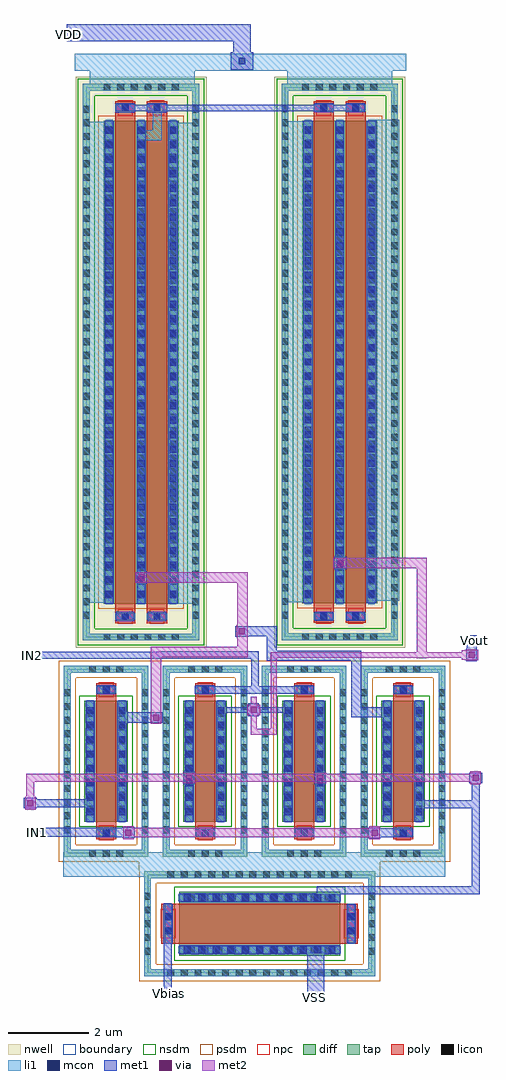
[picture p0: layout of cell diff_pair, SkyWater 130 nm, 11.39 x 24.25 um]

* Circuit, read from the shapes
.subckt diff_pair IN1 IN2 VDD VSS Vbias Vout
XM1 sky130_fd_pr__nfet_01v8_T464EC_2/D IN1 sky130_fd_pr__nfet_01v8_CRS6UV_6/D sky130_fd_pr__nfet_01v8_CRS6UV_6/B sky130_fd_pr__nfet_01v8 w=3 l=0.5 m=2
XM2 sky130_fd_pr__nfet_01v8_CRS6UV_6/D Vbias VSS sky130_fd_pr__nfet_01v8_CRS6UV_6/B sky130_fd_pr__nfet_01v8 w=4 l=1
XM3 Vout IN2 sky130_fd_pr__nfet_01v8_CRS6UV_6/D sky130_fd_pr__nfet_01v8_CRS6UV_6/B sky130_fd_pr__nfet_01v8 w=3 l=0.5 m=2
XM4 sky130_fd_pr__nfet_01v8_T464EC_2/D sky130_fd_pr__nfet_01v8_T464EC_2/D VDD VDD sky130_fd_pr__pfet_01v8 w=12 l=0.5 m=2
XM5 Vout sky130_fd_pr__nfet_01v8_T464EC_2/D VDD VDD sky130_fd_pr__pfet_01v8 w=12 l=0.5 m=2
.ends

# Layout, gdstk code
from math import pi, radians
import gdstk
lib = gdstk.Library(unit=1e-6, precision=1e-09)
def R(c, l, rs):  # rectangles x0, y0, x1, y1
    for r in rs: c.add(gdstk.rectangle(r[:2], r[2:], *l))
def A(c, l, x, y, w, h, nx, ny, dx, dy):  # array of equal rectangles
    R(c, l, [(x+i*dx, y+j*dy, x+i*dx+w, y+j*dy+h) for i in range(nx) for j in range(ny)])
nwell = (64, 20)
diff = (65, 20)
tap = (65, 44)
poly = (66, 20)
licon = (66, 44)
li1 = (67, 20)
mcon = (67, 44)
met1 = (68, 20)
via = (68, 44)
met2 = (69, 20)
nsdm = (93, 44)
psdm = (94, 20)
npc = (95, 20)
boundary = (235, 4)

sky130_fd_pr__pfet_01v8_ = lib.new_cell('sky130_fd_pr__pfet_01v8_YYH9U8')
R(sky130_fd_pr__pfet_01v8_, nwell, [(-1.625,-7.095,1.625,7.095)])
R(sky130_fd_pr__pfet_01v8_, diff, [(-0.935,-6,0.935,6)])
R(sky130_fd_pr__pfet_01v8_, tap, [(-1.445,-6.915,1.445,-6.745), (-1.445,-6.745,-1.275,6.745), (1.275,-6.745,1.445,6.745), (-1.445,6.745,1.445,6.915)])
R(sky130_fd_pr__pfet_01v8_, poly, [(-0.645,-6.485,-0.145,6.485), (0.145,-6.485,0.645,6.485)])
A(sky130_fd_pr__pfet_01v8_, licon, -0.935, -6.915, 0.17, 0.17, 6, 2, 0.34, 13.66)
A(sky130_fd_pr__pfet_01v8_, licon, -1.445, -6.375, 0.17, 0.17, 1, 38, 0, 0.34)
A(sky130_fd_pr__pfet_01v8_, licon, 1.275, -6.375, 0.17, 0.17, 1, 38, 0, 0.34)
A(sky130_fd_pr__pfet_01v8_, licon, -0.875, -5.865, 0.17, 0.17, 3, 35, 0.79, 0.34)
R(sky130_fd_pr__pfet_01v8_, licon, [(-0.48,-6.405,-0.31,-6.235), (0.31,-6.405,0.48,-6.235), (-0.48,6.235,-0.31,6.405), (0.31,6.235,0.48,6.405)])
A(sky130_fd_pr__pfet_01v8_, li1, -0.875, -6.02, 0.17, 12.04, 3, 1, 0.79, 0)
R(sky130_fd_pr__pfet_01v8_, li1, [(-1.445,-6.915,1.445,-6.745), (-1.445,-6.745,-1.275,6.745), (1.275,-6.745,1.445,6.745), (-0.645,-6.405,-0.145,-6.235), (0.145,-6.405,0.645,-6.235), (-0.645,6.235,-0.145,6.405), (0.145,6.235,0.645,6.405), (-1.445,6.745,1.445,6.915)])
A(sky130_fd_pr__pfet_01v8_, mcon, -0.875, -5.845, 0.17, 0.17, 3, 33, 0.79, 0.36)
R(sky130_fd_pr__pfet_01v8_, mcon, [(-0.48,-6.405,-0.31,-6.235), (0.31,-6.405,0.48,-6.235), (-0.48,6.235,-0.31,6.405), (0.31,6.235,0.48,6.405)])
A(sky130_fd_pr__pfet_01v8_, met1, -0.905, -6, 0.23, 12, 3, 1, 0.79, 0)
R(sky130_fd_pr__pfet_01v8_, met1, [(-0.625,-6.435,-0.165,-6.205), (0.165,-6.435,0.625,-6.205), (-0.625,6.205,-0.165,6.435), (0.165,6.205,0.625,6.435)])
R(sky130_fd_pr__pfet_01v8_, nsdm, [(-1.57,-7.04,1.57,-6.62), (-1.57,-6.62,-1.15,6.62), (1.15,-6.62,1.57,6.62), (-1.57,6.62,1.57,7.04)])
R(sky130_fd_pr__pfet_01v8_, psdm, [(-1.06,-6.125,1.06,6.125)])
R(sky130_fd_pr__pfet_01v8_, npc, [(-0.58,-6.505,-0.21,-6.135), (0.21,-6.505,0.58,-6.135), (-0.58,6.135,-0.21,6.505), (0.21,6.135,0.58,6.505)])
R(sky130_fd_pr__pfet_01v8_, boundary, [(-1.36,-6.83,1.36,6.83)])
sky130_fd_pr__pfet_01v8_.add(gdstk.Label('B', (0,-6.83), layer=67, texttype=5))
sky130_fd_pr__pfet_01v8_.add(gdstk.Label('D0', (-0.79,0), layer=67, texttype=5))
sky130_fd_pr__pfet_01v8_.add(gdstk.Label('G0', (-0.395,6.32), layer=67, texttype=5))
sky130_fd_pr__pfet_01v8_.add(gdstk.Label('S1', (0,0), layer=67, texttype=5))
sky130_fd_pr__pfet_01v8_.add(gdstk.Label('G1', (0.395,6.32), layer=67, texttype=5))

sky130_fd_pr__nfet_01v8_ = lib.new_cell('sky130_fd_pr__nfet_01v8_T464EC')
R(sky130_fd_pr__nfet_01v8_, diff, [(-0.54,-1.5,0.54,1.5)])
R(sky130_fd_pr__nfet_01v8_, tap, [(-1.05,-2.37,1.05,-2.2), (-1.05,-2.2,-0.88,2.2), (0.88,-2.2,1.05,2.2), (-1.05,2.2,1.05,2.37)])
R(sky130_fd_pr__nfet_01v8_, poly, [(-0.25,-1.94,0.25,1.94)])
A(sky130_fd_pr__nfet_01v8_, licon, -0.425, -2.37, 0.17, 0.17, 3, 2, 0.34, 4.57)
A(sky130_fd_pr__nfet_01v8_, licon, -1.05, -1.785, 0.17, 0.17, 1, 11, 0, 0.34)
A(sky130_fd_pr__nfet_01v8_, licon, 0.88, -1.785, 0.17, 0.17, 1, 11, 0, 0.34)
A(sky130_fd_pr__nfet_01v8_, licon, -0.48, -1.275, 0.17, 0.17, 1, 8, 0, 0.34)
A(sky130_fd_pr__nfet_01v8_, licon, 0.31, -1.275, 0.17, 0.17, 1, 8, 0, 0.34)
R(sky130_fd_pr__nfet_01v8_, licon, [(-0.085,-1.86,0.085,-1.69), (-0.085,1.69,0.085,1.86)])
R(sky130_fd_pr__nfet_01v8_, li1, [(-1.05,-2.37,1.05,-2.2), (-1.05,-2.2,-0.88,2.2), (0.88,-2.2,1.05,2.2), (-0.25,-1.86,0.25,-1.69), (-0.48,-1.52,-0.31,1.52), (0.31,-1.52,0.48,1.52), (-0.25,1.69,0.25,1.86), (-1.05,2.2,1.05,2.37)])
A(sky130_fd_pr__nfet_01v8_, mcon, -0.48, -1.345, 0.17, 0.17, 1, 8, 0, 0.36)
A(sky130_fd_pr__nfet_01v8_, mcon, 0.31, -1.345, 0.17, 0.17, 1, 8, 0, 0.36)
R(sky130_fd_pr__nfet_01v8_, mcon, [(-0.085,-1.86,0.085,-1.69), (-0.085,1.69,0.085,1.86)])
R(sky130_fd_pr__nfet_01v8_, met1, [(-0.23,-1.89,0.23,-1.66), (-0.51,-1.5,-0.28,1.5), (0.28,-1.5,0.51,1.5), (-0.23,1.66,0.23,1.89)])
R(sky130_fd_pr__nfet_01v8_, nsdm, [(-0.665,-1.625,0.665,1.625)])
R(sky130_fd_pr__nfet_01v8_, psdm, [(-1.175,-2.495,1.175,-2.075), (-1.175,-2.075,-0.755,2.075), (0.755,-2.075,1.175,2.075), (-1.175,2.075,1.175,2.495)])
R(sky130_fd_pr__nfet_01v8_, npc, [(-0.185,-1.96,0.185,-1.59), (-0.185,1.59,0.185,1.96)])
R(sky130_fd_pr__nfet_01v8_, boundary, [(-0.965,-2.285,0.965,2.285)])
sky130_fd_pr__nfet_01v8_.add(gdstk.Label('B', (0,-2.285), layer=67, texttype=5))
sky130_fd_pr__nfet_01v8_.add(gdstk.Label('D', (-0.395,0), layer=67, texttype=5))
sky130_fd_pr__nfet_01v8_.add(gdstk.Label('S', (0.395,0), layer=67, texttype=5))
sky130_fd_pr__nfet_01v8_.add(gdstk.Label('G', (0,1.775), layer=67, texttype=5))

c_sky130_fd_pr__nfet_01v8_ = lib.new_cell('sky130_fd_pr__nfet_01v8_CRS6UV')
R(c_sky130_fd_pr__nfet_01v8_, diff, [(-0.79,-2,0.79,2)])
R(c_sky130_fd_pr__nfet_01v8_, tap, [(-1.3,-2.87,1.3,-2.7), (-1.3,-2.7,-1.13,2.7), (1.13,-2.7,1.3,2.7), (-1.3,2.7,1.3,2.87)])
R(c_sky130_fd_pr__nfet_01v8_, poly, [(-0.5,-2.44,0.5,2.44)])
A(c_sky130_fd_pr__nfet_01v8_, licon, -0.765, -2.87, 0.17, 0.17, 5, 2, 0.34, 5.57)
A(c_sky130_fd_pr__nfet_01v8_, licon, -1.3, -2.295, 0.17, 0.17, 1, 14, 0, 0.34)
A(c_sky130_fd_pr__nfet_01v8_, licon, 1.13, -2.295, 0.17, 0.17, 1, 14, 0, 0.34)
A(c_sky130_fd_pr__nfet_01v8_, licon, -0.73, -1.785, 0.17, 0.17, 1, 11, 0, 0.34)
A(c_sky130_fd_pr__nfet_01v8_, licon, 0.56, -1.785, 0.17, 0.17, 1, 11, 0, 0.34)
R(c_sky130_fd_pr__nfet_01v8_, licon, [(-0.255,-2.36,-0.085,-2.19), (0.085,-2.36,0.255,-2.19), (-0.255,2.19,-0.085,2.36), (0.085,2.19,0.255,2.36)])
R(c_sky130_fd_pr__nfet_01v8_, li1, [(-1.3,-2.87,1.3,-2.7), (-1.3,-2.7,-1.13,2.7), (1.13,-2.7,1.3,2.7), (-0.5,-2.36,0.5,-2.19), (-0.73,-2.02,-0.56,2.02), (0.56,-2.02,0.73,2.02), (-0.5,2.19,0.5,2.36), (-1.3,2.7,1.3,2.87)])
A(c_sky130_fd_pr__nfet_01v8_, mcon, -0.73, -1.885, 0.17, 0.17, 1, 11, 0, 0.36)
A(c_sky130_fd_pr__nfet_01v8_, mcon, 0.56, -1.885, 0.17, 0.17, 1, 11, 0, 0.36)
R(c_sky130_fd_pr__nfet_01v8_, mcon, [(-0.265,-2.36,-0.095,-2.19), (0.095,-2.36,0.265,-2.19), (-0.265,2.19,-0.095,2.36), (0.095,2.19,0.265,2.36)])
R(c_sky130_fd_pr__nfet_01v8_, met1, [(-0.48,-2.39,0.48,-2.16), (-0.76,-2,-0.53,2), (0.53,-2,0.76,2), (-0.48,2.16,0.48,2.39)])
R(c_sky130_fd_pr__nfet_01v8_, nsdm, [(-0.915,-2.125,0.915,2.125)])
R(c_sky130_fd_pr__nfet_01v8_, psdm, [(-1.425,-2.995,1.425,-2.575), (-1.425,-2.575,-1.005,2.575), (1.005,-2.575,1.425,2.575), (-1.425,2.575,1.425,2.995)])
R(c_sky130_fd_pr__nfet_01v8_, npc, [(-0.355,-2.46,0.355,-2.09), (-0.355,2.09,0.355,2.46)])
R(c_sky130_fd_pr__nfet_01v8_, boundary, [(-1.215,-2.785,1.215,2.785)])
c_sky130_fd_pr__nfet_01v8_.add(gdstk.Label('B', (0,-2.785), layer=67, texttype=5))
c_sky130_fd_pr__nfet_01v8_.add(gdstk.Label('D', (-0.645,0), layer=67, texttype=5))
c_sky130_fd_pr__nfet_01v8_.add(gdstk.Label('S', (0.645,0), layer=67, texttype=5))
c_sky130_fd_pr__nfet_01v8_.add(gdstk.Label('G', (0,2.275), layer=67, texttype=5))

diff_pair = lib.new_cell('diff_pair')
R(diff_pair, li1, [(-0.1,-0.59,9.39,0.02), (2.59,6.195,3.285,16.8), (0.435,6.22,1.13,18.17), (5.405,6.235,6.1,18.185), (7.55,6.27,8.245,18.22), (1.77,16.8,1.94,17.45), (2.52,16.8,3.285,17.45), (2.59,17.45,3.285,18.145), (1.76,17.71,2.25,17.72), (1.76,17.72,2.35,17.97), (2.12,17.97,2.35,18.53), (0.56,18.97,3.17,19.44), (5.46,18.97,8.07,19.44), (0.19,19.44,8.42,19.87)])
R(diff_pair, mcon, [(4.255,19.6,4.425,19.77)])
R(diff_pair, met1, [(5.96,-3.65,6.38,-2.36), (2.4,-3.54,2.59,-1.24), (6.2,-1.2,6.4,-1.02), (6.2,-1.02,10.25,-0.82), (10.05,-0.82,10.25,1.11), (7.475,0.375,7.795,0.39), (1.36,0.38,1.68,0.395), (7.475,0.39,8.58,0.62), (0.73,0.395,1.68,0.405), (-0.775,0.405,1.68,0.625), (7.475,0.62,7.795,0.635), (1.36,0.625,1.68,0.64), (-1.08,1.11,-0.76,1.14), (8.66,1.11,10.25,1.31), (-1.08,1.14,0.67,1.34), (10.05,1.31,10.25,1.74), (-1.08,1.34,-0.76,1.37), (2.9,1.71,3.16,2.03), (6.15,1.71,6.41,2.03), (9.99,1.74,10.31,2), (1.34,3.24,2.37,3.5), (7.06,3.38,8,3.63), (4.5,3.4,4.76,3.49), (3.73,3.49,5.56,3.63), (4.5,3.63,4.76,3.72), (7.06,3.63,7.31,4.775), (3.17,3.96,6.13,4.15), (4.575,4.15,4.76,4.83), (9.92,4.765,10.18,5.085), (4.955,4.775,7.31,5.025), (2.285,4.83,4.76,4.835), (-0.945,4.835,4.76,5.01), (2.285,5.01,4.76,5.015), (4.955,5.025,5.205,5.385), (9.93,5.085,10.175,5.41), (4.18,5.38,4.5,5.385), (4.18,5.385,5.205,5.635), (4.18,5.635,4.5,5.64), (1.72,6.69,1.98,7.01), (6.64,7.05,6.94,7.37), (1.27,18.44,7.34,18.6), (4.065,19.47,4.615,19.9), (4.125,19.9,4.555,20.175), (-0.01,20.175,4.555,20.605)])
R(diff_pair, via, [(7.56,0.43,7.71,0.58), (1.445,0.435,1.595,0.585), (-0.995,1.165,-0.845,1.315), (2.955,1.795,3.105,1.945), (6.205,1.795,6.355,1.945), (10.075,1.795,10.225,1.945), (2.135,3.295,2.285,3.445), (4.555,3.485,4.705,3.635), (9.975,4.85,10.125,5), (4.265,5.435,4.415,5.585), (1.775,6.775,1.925,6.925), (6.715,7.135,6.865,7.285)])
R(diff_pair, met2, [(7.505,0.345,7.765,0.395), (1.39,0.35,1.65,0.395), (1.39,0.395,7.765,0.62), (1.39,0.62,3.7,0.625), (7.505,0.62,7.765,0.665), (1.39,0.625,1.65,0.67), (-1.05,1.08,-0.79,1.4), (-1.02,1.4,-0.82,1.77), (10.02,1.71,10.28,1.77), (2.87,1.74,3.19,1.77), (6.12,1.74,6.44,1.77), (-1.02,1.77,10.28,1.97), (2.87,1.97,3.19,2), (6.12,1.97,6.44,2), (10.02,1.97,10.28,2.03), (4.555,2.945,5.205,3.095), (4.555,3.095,4.705,3.43), (5.055,3.095,5.205,3.845), (2.08,3.21,2.34,4.87), (4.47,3.43,4.79,3.69), (4.555,3.69,4.705,3.885), (5.06,3.845,5.2,4.85), (9.89,4.795,10.21,4.8), (9.8,4.8,10.21,4.85), (8.68,4.845,8.93,4.85), (5.06,4.85,10.21,4.99), (2.08,4.87,4.48,5.13), (8.68,4.99,8.93,7.085), (9.8,4.99,10.21,5.045), (9.89,5.045,10.21,5.055), (4.22,5.13,4.48,5.35), (4.21,5.35,4.48,5.67), (4.22,5.67,4.48,6.72), (1.69,6.72,4.48,6.98), (6.61,7.08,6.97,7.085), (6.61,7.085,8.93,7.335), (6.61,7.335,6.97,7.34)])
A(diff_pair, psdm, 2.14, -0.21, 0.11, 4.99, 3, 1, 2.46, 0)
R(diff_pair, psdm, [(1.77,-0.425,1.785,-0.33), (1.77,-0.33,7.775,-0.21)])
diff_pair.add(gdstk.Reference(sky130_fd_pr__pfet_01v8_, (6.77,12.205)))
diff_pair.add(gdstk.Reference(sky130_fd_pr__pfet_01v8_, (1.835,12.2)))
diff_pair.add(gdstk.Reference(sky130_fd_pr__nfet_01v8_, (8.345,2.285)))
diff_pair.add(gdstk.Reference(sky130_fd_pr__nfet_01v8_, (5.885,2.285)))
diff_pair.add(gdstk.Reference(sky130_fd_pr__nfet_01v8_, (3.425,2.285)))
diff_pair.add(gdstk.Reference(sky130_fd_pr__nfet_01v8_, (0.965,2.285)))
diff_pair.add(gdstk.Reference(c_sky130_fd_pr__nfet_01v8_, (4.78,-1.755), rotation=3*pi/2))
diff_pair.add(gdstk.Label('VDD', (0.04,20.335), layer=68, texttype=5))
diff_pair.add(gdstk.Label('VSS', (6.14,-3.58), layer=68, texttype=5))
diff_pair.add(gdstk.Label('IN1', (-0.74,0.51), layer=68, texttype=5))
diff_pair.add(gdstk.Label('IN2', (-0.86,4.92), layer=68, texttype=5))
diff_pair.add(gdstk.Label('Vbias', (2.52,-3.49), layer=68, texttype=5))
diff_pair.add(gdstk.Label('Vout', (10.11,5.28), layer=68, texttype=5))

lib.write_gds('diff_pair.gds')
